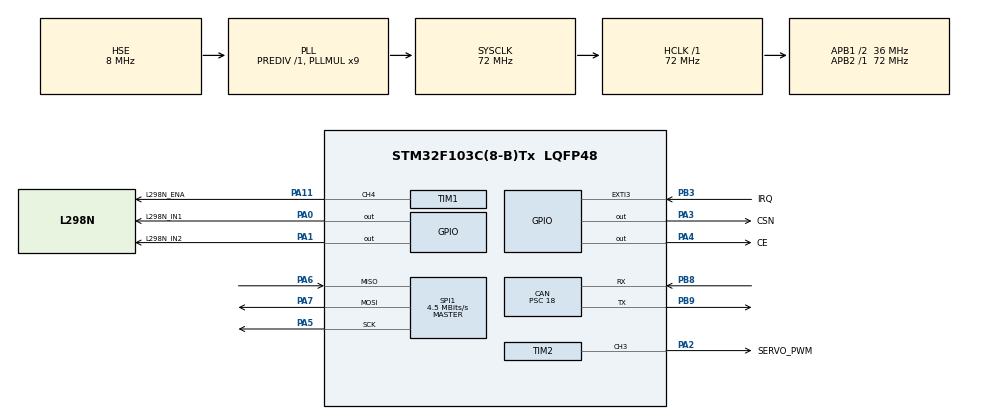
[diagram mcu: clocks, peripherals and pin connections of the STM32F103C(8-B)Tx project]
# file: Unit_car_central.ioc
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CAN.ABOM=ENABLE
CAN.BS1=CAN_BS1_2TQ
CAN.CalculateBaudRate=500000
CAN.CalculateTimeBit=2000
CAN.CalculateTimeQuantum=500.0
CAN.NART=ENABLE
CAN.Prescaler=18
CAN.SJW=CAN_SJW_2TQ
FREERTOS.BinarySemaphores01=RFSem,Dynamic,NULL,Depleted
FREERTOS.Queues01=CANTxQueue,2,VehicleCommand_t,0,Dynamic,NULL,NULL;CANRxQueue,1,uint8_t,0,Dynamic,NULL,NULL
FREERTOS.Tasks01=RFTask,40,256,StartRFTask,Default,NULL,Dynamic,NULL,NULL;CANTask,24,256,StartCANTask,Default,NULL,Dynamic,NULL,NULL
FREERTOS.configUSE_NEWLIB_REENTRANT=1
Mcu.Family=STM32F1
Mcu.Name=STM32F103C(8-B)Tx
Mcu.Package=LQFP48
NVIC.CAN1_RX1_IRQn=true\:5\:0\:false\:false\:true\:true\:true\:true\:true
NVIC.EXTI3_IRQn=true\:5\:0\:false\:false\:true\:true\:true\:true\:true
NVIC.PriorityGroup=NVIC_PRIORITYGROUP_4
NVIC.SPI1_IRQn=true\:5\:0\:false\:false\:true\:true\:true\:true\:true
NVIC.TIM2_IRQn=true\:5\:0\:false\:false\:true\:true\:true\:true\:true
NVIC.TIM3_IRQn=true\:15\:0\:false\:false\:true\:false\:false\:true\:true
NVIC.TimeBase=TIM3_IRQn
NVIC.TimeBaseIP=TIM3
PA0-WKUP.GPIO_Label=L298N_IN1
PA0-WKUP.Signal=GPIO_Output
PA1.GPIO_Label=L298N_IN2
PA1.Signal=GPIO_Output
PA11.GPIO_Label=L298N_ENA
PA11.Signal=S_TIM1_CH4
PA13.Mode=Serial_Wire
PA13.Signal=SYS_JTMS-SWDIO
PA14.Mode=Serial_Wire
PA14.Signal=SYS_JTCK-SWCLK
PA2.GPIO_Label=SERVO_PWM
PA2.Signal=S_TIM2_CH3
PA3.GPIO_Label=CSN
PA3.GPIO_Speed=GPIO_SPEED_FREQ_HIGH
PA3.Signal=GPIO_Output
PA4.GPIO_Label=CE
PA4.GPIO_Speed=GPIO_SPEED_FREQ_HIGH
PA4.Signal=GPIO_Output
PA5.Mode=Full_Duplex_Master
PA5.Signal=SPI1_SCK
PA6.Mode=Full_Duplex_Master
PA6.Signal=SPI1_MISO
PA7.Mode=Full_Duplex_Master
PA7.Signal=SPI1_MOSI
PB3.GPIO_Label=IRQ
PB3.GPIO_ModeDefaultEXTI=GPIO_MODE_IT_FALLING
PB3.Signal=GPXTI3
PB8.Mode=CAN_Activate
PB8.Signal=CAN_RX
PB9.Mode=CAN_Activate
PB9.Signal=CAN_TX
PD0-OSC_IN.Mode=HSE-External-Oscillator
PD0-OSC_IN.Signal=RCC_OSC_IN
PD1-OSC_OUT.Mode=HSE-External-Oscillator
PD1-OSC_OUT.Signal=RCC_OSC_OUT
ProjectManager.HeapSize=0x200
ProjectManager.StackSize=0x400
ProjectManager.TargetToolchain=STM32CubeIDE
RCC.AHBFreq_Value=72000000
RCC.APB1CLKDivider=RCC_HCLK_DIV2
RCC.APB1Freq_Value=36000000
RCC.APB1TimFreq_Value=72000000
RCC.APB2Freq_Value=72000000
RCC.APB2TimFreq_Value=72000000
RCC.HCLKFreq_Value=72000000
RCC.PLLMUL=RCC_PLL_MUL9
RCC.PLLSourceVirtual=RCC_PLLSOURCE_HSE
RCC.SYSCLKFreq_VALUE=72000000
RCC.SYSCLKSource=RCC_SYSCLKSOURCE_PLLCLK
RCC.USBFreq_Value=72000000
SH.S_TIM1_CH4.0=TIM1_CH4,PWM Generation4 CH4
SH.S_TIM2_CH3.0=TIM2_CH3,PWM Generation3 CH3
SPI1.BaudRatePrescaler=SPI_BAUDRATEPRESCALER_16
SPI1.CalculateBaudRate=4.5 MBits/s
SPI1.Direction=SPI_DIRECTION_2LINES
SPI1.Mode=SPI_MODE_MASTER
SPI1.VirtualType=VM_MASTER
TIM1.Channel-PWM\ Generation4\ CH4=TIM_CHANNEL_4
TIM1.Period=999
TIM1.Prescaler=36-1
TIM2.Channel-PWM\ Generation3\ CH3=TIM_CHANNEL_3
TIM2.Period=19999
TIM2.Prescaler=71
VP_FREERTOS_VS_CMSIS_V2.Mode=CMSIS_V2
VP_SYS_VS_tim3.Mode=TIM3
board=custom

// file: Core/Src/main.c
/* USER CODE BEGIN Header */
/**
  ******************************************************************************
  * @file           : main.c
  * @brief          : Main program body
  ******************************************************************************
  * @attention
  *
  * Copyright (c) 2025 STMicroelectronics.
  * All rights reserved.
  *
  * This software is licensed under terms that can be found in the LICENSE file
  * in the root directory of this software component.
  * If no LICENSE file comes with this software, it is provided AS-IS.
  *
  ******************************************************************************
  */
/* USER CODE END Header */
#include "main.h"
#include "cmsis_os.h"
#include "can.h"
#include "spi.h"
#include "tim.h"
#include "gpio.h"

/* USER CODE BEGIN Includes */
#include "NRF24.h"
#include "NRF24_reg_addresses.h"
#include <stdio.h>
#include <string.h>
#include "motor_control.h"
#include "can_handler.h"
#include "rf_handler.h"
/* USER CODE END Includes */

void SystemClock_Config(void);
void MX_FREERTOS_Init(void);

int main(void)
{

  /* MCU Configuration--------------------------------------------------------*/

  /* Reset of all peripherals, Initializes the Flash interface and the Systick. */
  HAL_Init();

  /* Configure the system clock */
  SystemClock_Config();

  /* Initialize all configured peripherals */
  MX_GPIO_Init();
  MX_TIM2_Init();
  MX_SPI1_Init();
  MX_TIM1_Init();
  MX_CAN_Init();
  /* USER CODE BEGIN 2 */

  // 1. Can 시작, 필터 설정 및 인터럽트 등록 핸들러 초기화
  CANHandler_Init();

  // 2. RF 핸들러 초기화
  RFHandler_Init();

  // 3. 모터 제어기 초기화 (PWM, 엔코더 시작)
  MotorControl_Init();

  /* USER CODE END 2 */

  /* Init scheduler */
  osKernelInitialize();

  /* Call init function for freertos objects (in cmsis_os2.c) */
  MX_FREERTOS_Init();

  /* Start scheduler */
  osKernelStart();

  /* We should never get here as control is now taken by the scheduler */

  /* Infinite loop */
  /* USER CODE BEGIN WHILE */
    while (1)
    {
//      if (RFHandler_GetNewCommand(&cmd))
//      {
//    	  // 새 명령 수신 시 모터/서보 제어 및 RPM 업데이트 동시 수행
//    	  MotorControl_Update(&cmd);
//
//    	  // 전진/후진 + 브레이크 상태를 CAN으로 전송
//		  uint8_t dir = cmd.direction;
//		  uint8_t brake = (cmd.brake_ms > 0) ? 1 : 0;
//		  CAN_Send_DriveStatus(dir, brake);
//      }
//
//      // CAN 신호를 받아 다음 ACK 페이로드에 실릴 데이터를 설정
//      RFHandler_SetAckPayload(can_distance_signal);

    /* USER CODE END WHILE */

    }
}

void SystemClock_Config(void)
{
  RCC_OscInitTypeDef RCC_OscInitStruct = {0};
  RCC_ClkInitTypeDef RCC_ClkInitStruct = {0};

  /** Initializes the RCC Oscillators according to the specified parameters
  * in the RCC_OscInitTypeDef structure.
  */
  RCC_OscInitStruct.OscillatorType = RCC_OSCILLATORTYPE_HSE;
  RCC_OscInitStruct.HSEState = RCC_HSE_ON;
  RCC_OscInitStruct.HSEPredivValue = RCC_HSE_PREDIV_DIV1;
  RCC_OscInitStruct.HSIState = RCC_HSI_ON;
  RCC_OscInitStruct.PLL.PLLState = RCC_PLL_ON;
  RCC_OscInitStruct.PLL.PLLSource = RCC_PLLSOURCE_HSE;
  RCC_OscInitStruct.PLL.PLLMUL = RCC_PLL_MUL9;
  if (HAL_RCC_OscConfig(&RCC_OscInitStruct) != HAL_OK)
  {
    Error_Handler();
  }

  /** Initializes the CPU, AHB and APB buses clocks
  */
  RCC_ClkInitStruct.ClockType = RCC_CLOCKTYPE_HCLK|RCC_CLOCKTYPE_SYSCLK
                              |RCC_CLOCKTYPE_PCLK1|RCC_CLOCKTYPE_PCLK2;
  RCC_ClkInitStruct.SYSCLKSource = RCC_SYSCLKSOURCE_PLLCLK;
  RCC_ClkInitStruct.AHBCLKDivider = RCC_SYSCLK_DIV1;
  RCC_ClkInitStruct.APB1CLKDivider = RCC_HCLK_DIV2;
  RCC_ClkInitStruct.APB2CLKDivider = RCC_HCLK_DIV1;

  if (HAL_RCC_ClockConfig(&RCC_ClkInitStruct, FLASH_LATENCY_2) != HAL_OK)
  {
    Error_Handler();
  }
}

/* USER CODE BEGIN 4 */
void HAL_GPIO_EXTI_Callback(uint16_t GPIO_Pin)
{
    if (GPIO_Pin == GPIO_PIN_3)  // IRQ 핀
    {
        RFHandler_IrqCallback(); // 핸들러에게 위임
    }
}
/* USER CODE END 4 */

void HAL_TIM_PeriodElapsedCallback(TIM_HandleTypeDef *htim)
{
  if (htim->Instance == TIM3)
  {
    HAL_IncTick();
  }
}

void Error_Handler(void)
{
  __disable_irq();
  while (1)
  {
  }
}

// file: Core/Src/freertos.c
/* USER CODE BEGIN Header */
/**
  ******************************************************************************
  * File Name          : freertos.c
  * Description        : Code for freertos applications
  ******************************************************************************
  * @attention
  *
  * Copyright (c) 2025 STMicroelectronics.
  * All rights reserved.
  *
  * This software is licensed under terms that can be found in the LICENSE file
  * in the root directory of this software component.
  * If no LICENSE file comes with this software, it is provided AS-IS.
  *
  ******************************************************************************
  */
/* USER CODE END Header */

#include "FreeRTOS.h"
#include "task.h"
#include "main.h"
#include "cmsis_os.h"

/* USER CODE BEGIN Includes */
#include <string.h> // memcpy를 사용하기 위해 필요
#include "motor_control.h"
#include "can_handler.h"
#include "rf_handler.h"
/* USER CODE END Includes */

/* USER CODE BEGIN PD */
#define RF_SEMAPHORE_TIMEOUT 250 // 250ms 동안 RF 신호가 없으면 실패로 간주
/* USER CODE END PD */

/* Definitions for RFTask */
osThreadId_t RFTaskHandle;
const osThreadAttr_t RFTask_attributes = {
  .name = "RFTask",
  .stack_size = 256 * 4,
  .priority = (osPriority_t) osPriorityHigh,
};
/* Definitions for CANTask */
osThreadId_t CANTaskHandle;
const osThreadAttr_t CANTask_attributes = {
  .name = "CANTask",
  .stack_size = 256 * 4,
  .priority = (osPriority_t) osPriorityNormal,
};
/* Definitions for CANTxQueue */
osMessageQueueId_t CANTxQueueHandle;
const osMessageQueueAttr_t CANTxQueue_attributes = {
  .name = "CANTxQueue"
};
/* Definitions for CANRxQueue */
osMessageQueueId_t CANRxQueueHandle;
const osMessageQueueAttr_t CANRxQueue_attributes = {
  .name = "CANRxQueue"
};
/* Definitions for RFSem */
osSemaphoreId_t RFSemHandle;
const osSemaphoreAttr_t RFSem_attributes = {
  .name = "RFSem"
};

void StartRFTask(void *argument);
void StartCANTask(void *argument);

void MX_FREERTOS_Init(void); /* (MISRA C 2004 rule 8.1) */

void MX_FREERTOS_Init(void) {

  /* Create the semaphores(s) */
  /* creation of RFSem */
  RFSemHandle = osSemaphoreNew(1, 0, &RFSem_attributes);

  /* Create the queue(s) */
  /* creation of CANTxQueue */
  CANTxQueueHandle = osMessageQueueNew (2, sizeof(VehicleCommand_t), &CANTxQueue_attributes);

  /* creation of CANRxQueue */
  CANRxQueueHandle = osMessageQueueNew (1, sizeof(CAN_RxPacket_t), &CANRxQueue_attributes);

  /* Create the thread(s) */
  /* creation of RFTask */
  RFTaskHandle = osThreadNew(StartRFTask, NULL, &RFTask_attributes);

  /* creation of CANTask */
  CANTaskHandle = osThreadNew(StartCANTask, NULL, &CANTask_attributes);

}

void StartRFTask(void *argument)
{
  /* USER CODE BEGIN StartRFTask */
	VehicleCommand_t cmd = {0};

	//큐에서 받을 데이터를 담을 구조체 변수
	CAN_RxPacket_t received_can_packet;

	// RF ACK 페이로드로 보낼 3바이트 데이터 버퍼 선언 및 초기화
	// [0]:햅틱, [1]:RPM(하위), [2]:RPM(상위)
	uint8_t ack_payload[3] = {0};
  /* Infinite loop */
	for(;;)
	  {
	      // 1. RF 수신 인터럽트를 타임아웃과 함께 대기
		if (osSemaphoreAcquire(RFSemHandle, RF_SEMAPHORE_TIMEOUT) == osOK)
		{
	      // 2. CAN 수신 큐에서 최신 거리 값을 논블로킹으로 확인
		  // 성공적으로 새 데이터를 받으면 ack_payload를 업데이트
		  if (osMessageQueueGet(CANRxQueueHandle, &received_can_packet, NULL, 0U) == osOK)
		  {
			  // 큐에서 받은 구조체 데이터로 ack_payload 배열 채우기

			  // ack_payload[0]에는 햅틱을 위한 distance_signal 저장
			  ack_payload[0] = received_can_packet.distance_signal;

			  // memcpy를 사용하여 RPM 값을 페이로드에 저장
			  uint16_t rpm_value = received_can_packet.motor_rpm;
			  // rpm_value 변수의 메모리 내용을 ack_payload[1] 주소에 2바이트(sizeof(uint16_t))만큼 복사합니다.
			  // 이 방식은 시스템의 Endianness(리틀/빅 엔디안)에 따라 자동으로 바이트 순서가 결정됩니다.
			  memcpy(&ack_payload[1], &rpm_value, sizeof(uint16_t));
		  }
	      // 3. RF 수신 버퍼에 있는 모든 명령을 처리
		  while (RFHandler_GetNewCommand(&cmd)) {

			  // 수신 성공 시, 구조체에 RF 상태(true)를 기록
			  cmd.rf_status = true;

	          // 4. 모터 제어 업데이트
			  MotorControl_Update(&cmd);

	          // 5. CAN 전송을 위해 수신한 cmd 구조체 전체를 CANTxQueue에 넣음
			  osMessageQueuePut(CANTxQueueHandle, &cmd, 0U, 0U);

	          // 6. 컨트롤러에 보낼 ACK 페이로드 설정 (배열과 크기 전달)
			  // GetNewCommand 함수 내부에서 ACK를 보내므로, 이 함수를 호출한 직후에 ACK 페이로드를 설정해야 다음 ACK에 반영됨 (while loop 내부)
	          // (가장 최신 CAN 데이터로 매번 ACK 페이로드를 설정)
			  RFHandler_SetAckPayload(ack_payload, sizeof(ack_payload));
		  }
		}
		else
		{
			// RF 신호 수신 타임아웃 (실패)
			// RF 실패 상태를 CANTask로 알리기 위해 상태 메시지 전송
			memset(&cmd, 0, sizeof(VehicleCommand_t)); // 안전을 위해 주행 명령 초기화
			cmd.rf_status = false; // 구조체에 RF 상태(false) 기록
			osMessageQueuePut(CANTxQueueHandle, &cmd, 0U, 0U); // CANTask로 전송
		}
	  }
  /* USER CODE END StartRFTask */
}

void StartCANTask(void *argument)
{
  /* USER CODE BEGIN StartCANTask */
	VehicleCommand_t received_cmd; // ⭐️ VehicleCommand_t 타입으로 변경

  /* Infinite loop */
  for(;;)
  {
      // 큐에서 VehicleCommand_t 구조체 수신
	  osMessageQueueGet(CANTxQueueHandle, &received_cmd, NULL, osWaitForever);

      // 수신한 구조체에서 필요한 데이터 추출
      uint8_t dir = received_cmd.direction;
      uint8_t brake = (received_cmd.brake_ms > 0) ? 1 : 0;
      bool rf_ok = received_cmd.rf_status;

      // 실제 CAN 전송 함수 호출
      CAN_Send_DriveStatus(dir, brake, rf_ok);
  }
  /* USER CODE END StartCANTask */
}
